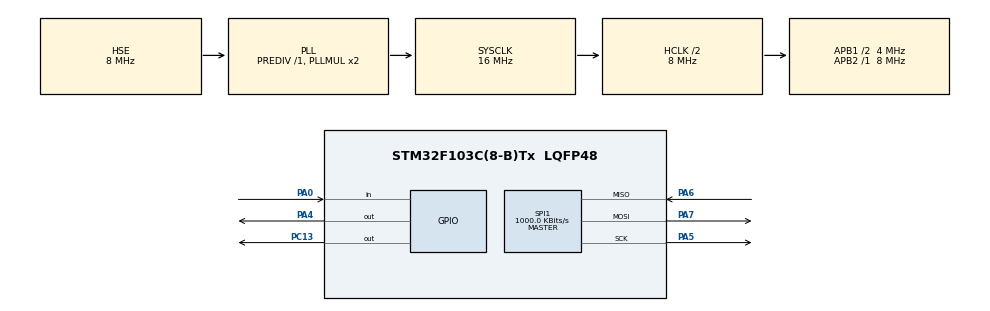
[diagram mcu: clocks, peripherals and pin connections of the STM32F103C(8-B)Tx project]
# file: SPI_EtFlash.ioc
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Mcu.Family=STM32F1
Mcu.Name=STM32F103C(8-B)Tx
Mcu.Package=LQFP48
NVIC.PriorityGroup=NVIC_PRIORITYGROUP_4
PA0-WKUP.GPIO_PuPd=GPIO_PULLUP
PA0-WKUP.Signal=GPIO_Input
PA13.Mode=Serial_Wire
PA13.Signal=SYS_JTMS-SWDIO
PA14.Mode=Serial_Wire
PA14.Signal=SYS_JTCK-SWCLK
PA4.GPIO_Speed=GPIO_SPEED_FREQ_HIGH
PA4.PinState=GPIO_PIN_SET
PA4.Signal=GPIO_Output
PA5.Mode=Full_Duplex_Master
PA5.Signal=SPI1_SCK
PA6.Mode=Full_Duplex_Master
PA6.Signal=SPI1_MISO
PA7.Mode=Full_Duplex_Master
PA7.Signal=SPI1_MOSI
PC13-TAMPER-RTC.GPIO_ModeDefaultOutputPP=GPIO_MODE_OUTPUT_OD
PC13-TAMPER-RTC.GPIO_PuPd=GPIO_NOPULL
PC13-TAMPER-RTC.PinState=GPIO_PIN_SET
PC13-TAMPER-RTC.Signal=GPIO_Output
PD0-OSC_IN.Mode=HSE-External-Oscillator
PD0-OSC_IN.Signal=RCC_OSC_IN
PD1-OSC_OUT.Mode=HSE-External-Oscillator
PD1-OSC_OUT.Signal=RCC_OSC_OUT
ProjectManager.HeapSize=0x200
ProjectManager.StackSize=0x400
ProjectManager.TargetToolchain=STM32CubeIDE
RCC.AHBCLKDivider=RCC_SYSCLK_DIV2
RCC.AHBFreq_Value=8000000
RCC.APB1CLKDivider=RCC_HCLK_DIV2
RCC.APB1Freq_Value=4000000
RCC.APB1TimFreq_Value=8000000
RCC.APB2Freq_Value=8000000
RCC.APB2TimFreq_Value=8000000
RCC.HCLKFreq_Value=8000000
RCC.PLLSourceVirtual=RCC_PLLSOURCE_HSE
RCC.SYSCLKFreq_VALUE=16000000
RCC.SYSCLKSource=RCC_SYSCLKSOURCE_PLLCLK
RCC.USBFreq_Value=16000000
SPI1.BaudRatePrescaler=SPI_BAUDRATEPRESCALER_8
SPI1.CLKPhase=SPI_PHASE_2EDGE
SPI1.CLKPolarity=SPI_POLARITY_HIGH
SPI1.CalculateBaudRate=1000.0 KBits/s
SPI1.Direction=SPI_DIRECTION_2LINES
SPI1.Mode=SPI_MODE_MASTER
SPI1.VirtualType=VM_MASTER
board=custom

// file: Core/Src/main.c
/* USER CODE BEGIN Header */
/**
 ******************************************************************************
 * @file           : main.c
 * @brief          : Main program body
 ******************************************************************************
 * @attention
 *
 * Copyright (c) 2026 STMicroelectronics.
 * All rights reserved.
 *
 * This software is licensed under terms that can be found in the LICENSE file
 * in the root directory of this software component.
 * If no LICENSE file comes with this software, it is provided AS-IS.
 *
 ******************************************************************************
 */
/* USER CODE END Header */
#include "main.h"
#include "spi.h"
#include "gpio.h"

void SystemClock_Config(void);

int main(void)
{

  /* MCU Configuration--------------------------------------------------------*/

  /* Reset of all peripherals, Initializes the Flash interface and the Systick. */
  HAL_Init();

  /* Configure the system clock */
  SystemClock_Config();

  /* Initialize all configured peripherals */
  MX_GPIO_Init();
  MX_SPI1_Init();

  /* Infinite loop */
  /* USER CODE BEGIN WHILE */
    uint8_t cur = 1;
    uint8_t pre = 1;
    uint8_t led_state = 0;
    while (1)
    {
        pre = cur;
        if (HAL_GPIO_ReadPin(GPIOA, GPIO_PIN_0) == GPIO_PIN_SET)
            cur = 1;
        else
            cur = 0;
        if (pre != cur)
        {
            HAL_Delay(5);
            if (cur == 0)
            {
            }
            else
            {
                if (led_state == 0)
                {
                    HAL_GPIO_WritePin(GPIOA, GPIO_PIN_13, GPIO_PIN_RESET);
                    led_state = 1;
                }
                else
                {
                    HAL_GPIO_WritePin(GPIOA, GPIO_PIN_13, GPIO_PIN_SET);
                    led_state = 0;
                }
            }
        }
    /* USER CODE END WHILE */

    }
}

void SystemClock_Config(void)
{
  RCC_OscInitTypeDef RCC_OscInitStruct = {0};
  RCC_ClkInitTypeDef RCC_ClkInitStruct = {0};

  /** Initializes the RCC Oscillators according to the specified parameters
  * in the RCC_OscInitTypeDef structure.
  */
  RCC_OscInitStruct.OscillatorType = RCC_OSCILLATORTYPE_HSE;
  RCC_OscInitStruct.HSEState = RCC_HSE_ON;
  RCC_OscInitStruct.HSEPredivValue = RCC_HSE_PREDIV_DIV1;
  RCC_OscInitStruct.HSIState = RCC_HSI_ON;
  RCC_OscInitStruct.PLL.PLLState = RCC_PLL_ON;
  RCC_OscInitStruct.PLL.PLLSource = RCC_PLLSOURCE_HSE;
  RCC_OscInitStruct.PLL.PLLMUL = RCC_PLL_MUL2;
  if (HAL_RCC_OscConfig(&RCC_OscInitStruct) != HAL_OK)
  {
    Error_Handler();
  }

  /** Initializes the CPU, AHB and APB buses clocks
  */
  RCC_ClkInitStruct.ClockType = RCC_CLOCKTYPE_HCLK|RCC_CLOCKTYPE_SYSCLK
                              |RCC_CLOCKTYPE_PCLK1|RCC_CLOCKTYPE_PCLK2;
  RCC_ClkInitStruct.SYSCLKSource = RCC_SYSCLKSOURCE_PLLCLK;
  RCC_ClkInitStruct.AHBCLKDivider = RCC_SYSCLK_DIV2;
  RCC_ClkInitStruct.APB1CLKDivider = RCC_HCLK_DIV2;
  RCC_ClkInitStruct.APB2CLKDivider = RCC_HCLK_DIV1;

  if (HAL_RCC_ClockConfig(&RCC_ClkInitStruct, FLASH_LATENCY_0) != HAL_OK)
  {
    Error_Handler();
  }
}

void Error_Handler(void)
{
    __disable_irq();
    while (1)
    {
    }
}
